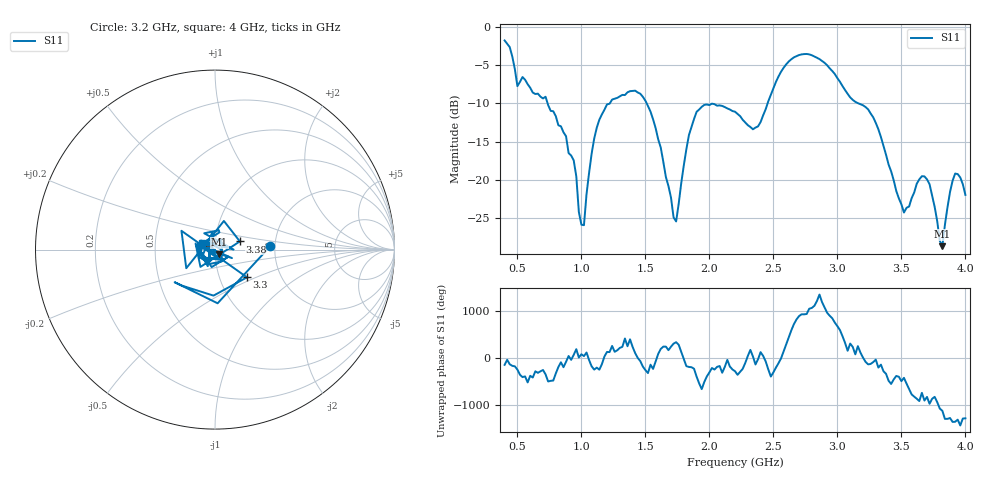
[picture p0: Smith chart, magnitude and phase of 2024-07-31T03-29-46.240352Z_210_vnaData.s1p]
!Created with skrf (http://scikit-rf.org).
# Hz S RI R 50.0
!freq ReS11 ImS11
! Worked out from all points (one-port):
!   181 points, 400 MHz to 4 GHz, reference 50 ohm
!   lowest |S11| = -28.7 dB at 3.82 GHz (marker M1), VSWR 1.08, Z = 52.5 - j2.86 ohm
!   |S11| at or under -10 dB: 736 MHz to 1.222 GHz (485.6 MHz wide, 49.6 % of centre); 1.51 GHz to 2.455 GHz (944.4 MHz wide, 47.6 % of centre); 3.165 GHz to end of sweep
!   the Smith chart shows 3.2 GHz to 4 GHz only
!   S11 on the Smith chart (normalised r, x): 3.2 GHz: 1.88, +0.07; 3.3 GHz: 1.35, -0.44; 3.38 GHz: 1.32, +0.12; 4 GHz: 0.87, +0.06
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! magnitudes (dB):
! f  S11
! 400 MHz  -1.8
! 500 MHz  -7.7
! 720 MHz  -9.1
! 860 MHz  -13.8
! 940 MHz  -17.5
! 980 MHz  -24.2
! 1.02 GHz  -25.9
! 1.12 GHz  -13.2
! 1.3 GHz  -9.1
! 1.5 GHz  -9.6
! 1.62 GHz  -15.8
! 1.72 GHz  -24.9
! 1.76 GHz  -23.1
! 1.9 GHz  -11.1
! 2.2 GHz  -11.1
! 2.38 GHz  -13.0
! 2.66 GHz  -4.0
! 2.86 GHz  -4.2
! 3.1 GHz  -9.2
! 3.2 GHz  -10.2
! 3.3 GHz  -12.6
! 3.38 GHz  -16.7
! 3.52 GHz  -24.3
! 3.56 GHz  -23.5
! 3.7 GHz  -19.9
! 3.82 GHz  -28.7
! 3.92 GHz  -19.2
! 4 GHz  -22.0
